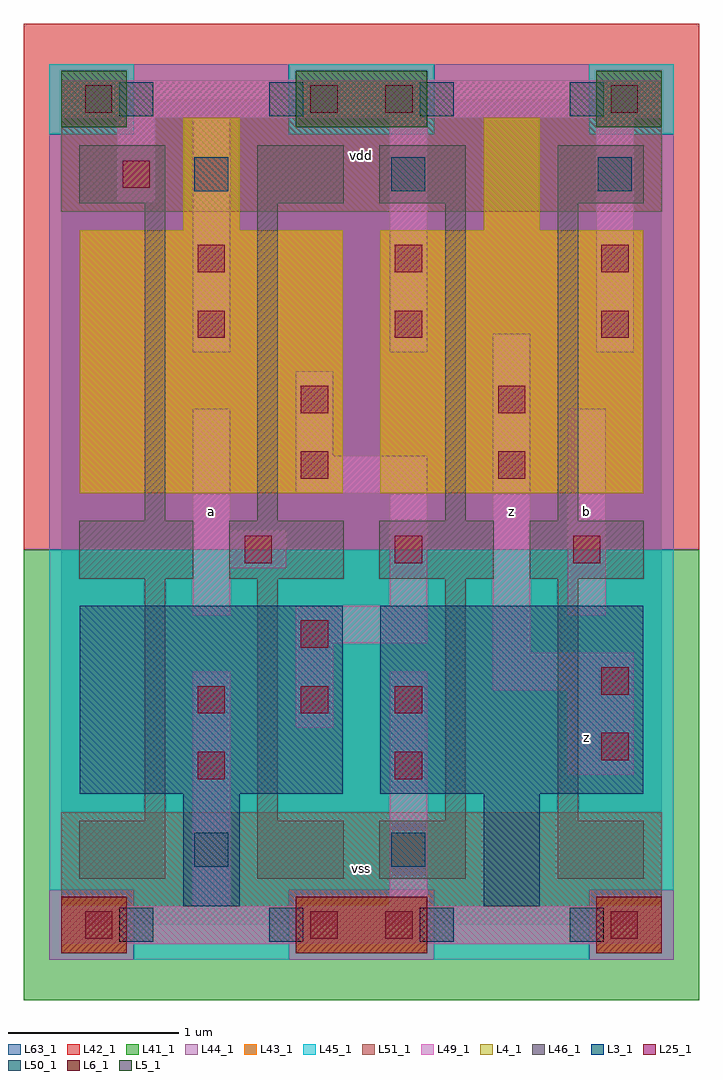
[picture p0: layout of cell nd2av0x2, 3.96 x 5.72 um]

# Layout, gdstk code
import gdstk
lib = gdstk.Library(unit=1e-6, precision=1e-09)
def R(c, l, rs):  # rectangles x0, y0, x1, y1
    for r in rs: c.add(gdstk.rectangle(r[:2], r[2:], *l))
def A(c, l, x, y, w, h, nx, ny, dx, dy):  # array of equal rectangles
    R(c, l, [(x+i*dx, y+j*dy, x+i*dx+w, y+j*dy+h) for i in range(nx) for j in range(ny)])
L3_1 = (3, 1)
L4_1 = (4, 1)
L5_1 = (5, 1)
L6_1 = (6, 1)
L25_1 = (25, 1)
L41_1 = (41, 1)
L42_1 = (42, 1)
L43_1 = (43, 1)
L44_1 = (44, 1)
L45_1 = (45, 1)
L46_1 = (46, 1)
L49_1 = (49, 1)
L50_1 = (50, 1)
L51_1 = (51, 1)
L63_1 = (63, 1)

nd2av0x2 = lib.new_cell('nd2av0x2')
R(nd2av0x2, L3_1, [(0.715,0.11,1.045,0.77), (2.475,0.11,2.805,0.77), (0.11,0.77,1.65,1.87), (1.87,0.77,3.41,1.87)])
R(nd2av0x2, L4_1, [(0.11,2.53,1.65,4.07), (1.87,2.53,3.41,4.07), (0.715,4.07,1.045,4.73), (2.475,4.07,2.805,4.73)])
R(nd2av0x2, L5_1, [(0,4.675,0.385,5.005), (1.375,4.675,2.145,5.005), (3.135,4.675,3.52,5.005)])
R(nd2av0x2, L6_1, [(0,-0.165,0.385,0.165), (1.375,-0.165,2.145,0.165), (3.135,-0.165,3.52,0.165)])
R(nd2av0x2, L25_1, [(0.14,-0.08,0.3,0.08), (1.46,-0.08,1.62,0.08), (1.9,-0.08,2.06,0.08), (3.22,-0.08,3.38,0.08), (0.8,0.855,0.96,1.015), (1.955,0.855,2.115,1.015), (3.165,0.965,3.325,1.125), (0.8,1.24,0.96,1.4), (1.405,1.24,1.565,1.4), (1.955,1.24,2.115,1.4), (3.165,1.35,3.325,1.51), (1.405,1.625,1.565,1.785), (1.075,2.12,1.235,2.28), (1.955,2.12,2.115,2.28), (3,2.12,3.16,2.28), (1.405,2.615,1.565,2.775), (2.56,2.615,2.72,2.775), (1.405,3,1.565,3.16), (2.56,3,2.72,3.16), (0.8,3.44,0.96,3.6), (1.955,3.44,2.115,3.6), (3.165,3.44,3.325,3.6), (0.8,3.825,0.96,3.985), (1.955,3.825,2.115,3.985), (3.165,3.825,3.325,3.985), (0.36,4.32,0.52,4.48), (0.14,4.76,0.3,4.92), (1.46,4.76,1.62,4.92), (1.9,4.76,2.06,4.92), (3.22,4.76,3.38,4.92)])
R(nd2av0x2, L41_1, [(-0.22,-0.44,3.74,2.2)])
R(nd2av0x2, L42_1, [(-0.22,2.2,3.74,5.28)])
R(nd2av0x2, L43_1, [(0,-0.165,0.385,0.165), (1.375,-0.165,2.145,0.165), (3.135,-0.165,3.52,0.165), (0.715,0.11,1.045,0.77), (2.475,0.11,2.805,0.77), (0.11,0.77,1.65,1.87), (1.87,0.77,3.41,1.87), (0.11,2.53,1.65,4.07), (1.87,2.53,3.41,4.07), (0.715,4.07,1.045,4.73), (2.475,4.07,2.805,4.73), (0,4.675,0.385,5.005), (1.375,4.675,2.145,5.005), (3.135,4.675,3.52,5.005)])
R(nd2av0x2, L44_1, [(-0.07,-0.205,0.425,0.205), (1.335,-0.205,2.185,0.205), (3.095,-0.205,3.59,0.205), (-0.07,2.2,3.59,4.635), (0.425,4.635,1.335,5.045), (2.185,4.635,3.095,5.045)])
R(nd2av0x2, L45_1, [(0.425,-0.205,1.335,0.205), (2.185,-0.205,3.095,0.205), (-0.07,0.205,3.59,2.2), (-0.07,4.635,0.425,5.045), (1.335,4.635,2.185,5.045), (3.095,4.635,3.59,5.045)])
A(nd2av0x2, L46_1, 0.105, 2.03, 0.67, 0.34, 4, 1, 0.88, 0)
R(nd2av0x2, L46_1, [(0.105,0.27,0.61,0.61), (1.15,0.27,1.655,0.61), (1.865,0.27,2.37,0.61), (2.91,0.27,3.415,0.61), (0.49,0.61,0.61,2.03), (1.15,0.61,1.27,2.03), (2.25,0.61,2.37,2.03), (2.91,0.61,3.03,2.03), (0.49,2.37,0.61,4.23), (1.15,2.37,1.27,4.23), (2.25,2.37,2.37,4.23), (2.91,2.37,3.03,4.23), (0.105,4.23,0.61,4.57), (1.15,4.23,1.655,4.57), (1.865,4.23,2.37,4.57), (2.91,4.23,3.415,4.57)])
R(nd2av0x2, L49_1, [(0,-0.11,3.52,0.11), (0.77,0.11,0.99,1.485), (1.925,0.11,2.145,1.485), (2.97,0.88,3.355,1.375), (1.375,1.155,1.595,1.65), (2.53,1.375,3.355,1.595), (2.53,1.595,2.75,3.465), (1.375,1.65,2.145,1.87), (0.77,1.815,0.99,2.09), (2.97,1.815,3.19,3.025), (1.925,1.87,2.145,2.53), (0.77,2.09,1.32,2.31), (0.77,2.31,0.99,3.025), (1.375,2.53,2.145,2.75), (1.375,2.75,1.595,3.245), (0.77,3.355,0.99,4.73), (1.925,3.355,2.145,4.73), (3.135,3.355,3.355,4.73), (0.33,4.235,0.55,4.73), (0,4.73,3.52,4.95)])
A(nd2av0x2, L50_1, 0.34, -0.1, 0.2, 0.2, 4, 2, 0.88, 4.84)
R(nd2av0x2, L50_1, [(0.78,0.34,0.98,0.54), (1.935,0.34,2.135,0.54), (0.78,4.3,0.98,4.5), (1.935,4.3,2.135,4.5), (3.145,4.3,3.345,4.5)])
R(nd2av0x2, L51_1, [(0,-0.11,3.52,0.66), (0,4.18,3.52,4.95)])
R(nd2av0x2, L63_1, [(0,0,3.52,4.84)])
nd2av0x2.add(gdstk.Label('a', (0.88,2.42), layer=49, texttype=1))
nd2av0x2.add(gdstk.Label('z', (3.08,1.1), layer=49, texttype=1))
nd2av0x2.add(gdstk.Label('b', (3.08,2.42), layer=49, texttype=1))
nd2av0x2.add(gdstk.Label('z', (2.64,2.42), layer=49, texttype=1))
nd2av0x2.add(gdstk.Label('vss', (1.76,0.33), layer=51, texttype=1))
nd2av0x2.add(gdstk.Label('vdd', (1.76,4.51), layer=51, texttype=1))

lib.write_gds('nd2av0x2.gds')
